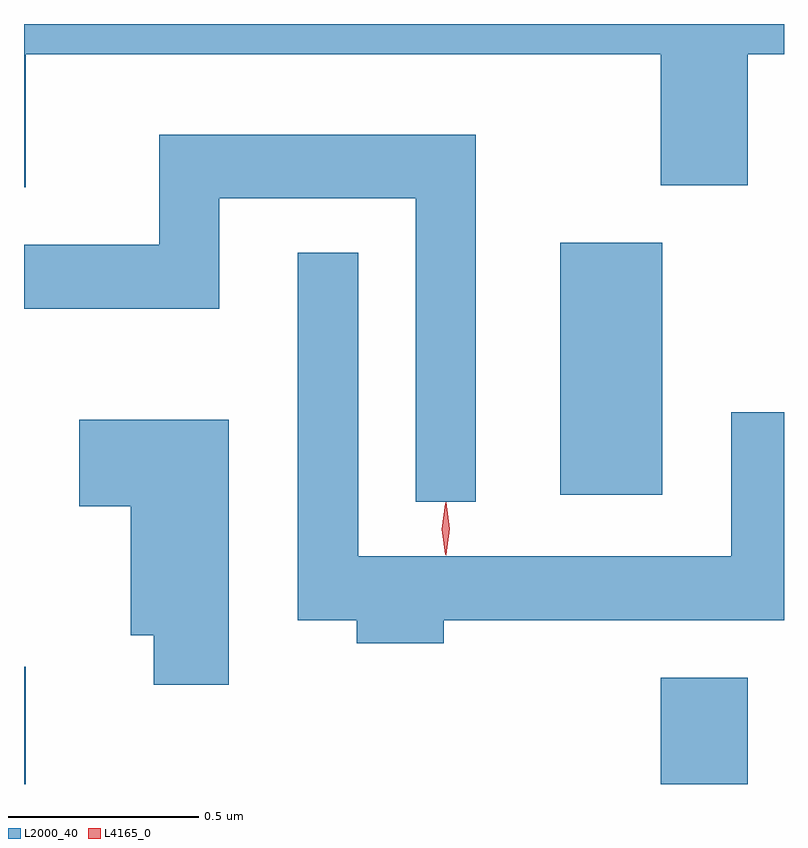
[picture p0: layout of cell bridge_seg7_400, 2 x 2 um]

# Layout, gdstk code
import gdstk
lib = gdstk.Library(unit=1e-6, precision=1e-09)
def R(c, l, rs):  # rectangles x0, y0, x1, y1
    for r in rs: c.add(gdstk.rectangle(r[:2], r[2:], *l))
def P(c, l, *ps):  # polygons
    for p in ps: c.add(gdstk.Polygon(p, *l))
L2000_40 = (2000, 40)
L4165_0 = (4165, 0)

bridge_seg7_400 = lib.new_cell('bridge_seg7_400')
R(bridge_seg7_400, L2000_40, [(1149.945,1765.675,1149.949,1765.984), (1151.621,1765.675,1151.849,1765.954), (1151.356,1766.436,1151.624,1767.099)])
P(bridge_seg7_400, L2000_40, [(1149.949,1767.596),(1151.621,1767.596),(1151.621,1767.251),(1151.849,1767.251),(1151.849,1767.596),(1151.945,1767.596),(1151.945,1767.675),(1149.945,1767.675),(1149.945,1767.246),(1149.949,1767.246)],
  [(1151.134,1767.384),(1150.301,1767.384),(1150.301,1767.094),(1149.945,1767.094),(1149.945,1766.926),(1150.459,1766.926),(1150.459,1767.216),(1150.976,1767.216),(1150.976,1766.418),(1151.134,1766.418)],
  [(1151.049,1766.106),(1151.945,1766.106),(1151.945,1766.653),(1151.806,1766.653),(1151.806,1766.274),(1150.824,1766.274),(1150.824,1767.073),(1150.666,1767.073),(1150.666,1766.106),(1150.821,1766.106),(1150.821,1766.046),(1151.049,1766.046)],
  [(1150.484,1766.634),(1150.091,1766.634),(1150.091,1766.406),(1150.226,1766.406),(1150.226,1766.066),(1150.286,1766.066),(1150.286,1765.936),(1150.484,1765.936)])
P(bridge_seg7_400, L4165_0, [(1151.056,1766.277),(1151.055,1766.278),(1151.046,1766.347),(1151.055,1766.416),(1151.056,1766.416),(1151.056,1766.416),(1151.066,1766.347),(1151.056,1766.278)],
  [(1151.053,1766.28),(1151.044,1766.346),(1151.053,1766.412),(1151.054,1766.413),(1151.054,1766.412),(1151.064,1766.346),(1151.054,1766.28),(1151.054,1766.28)])

lib.write_gds('bridge_seg7_400.gds')
